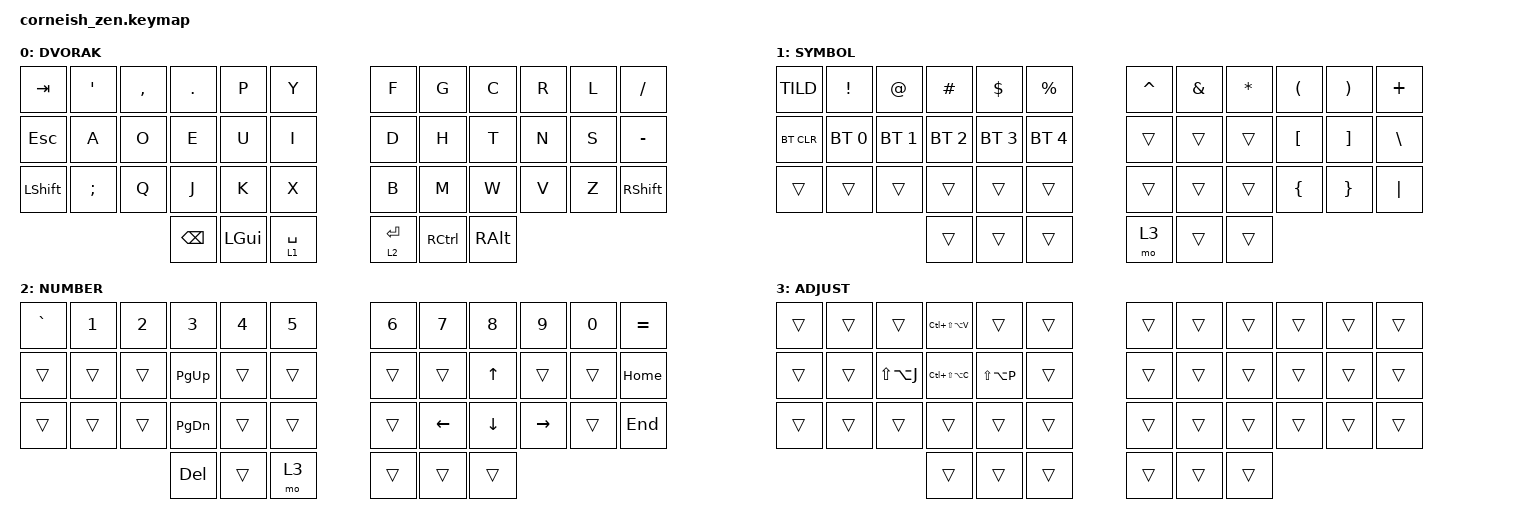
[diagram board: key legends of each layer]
#include <behaviors.dtsi>
#include <dt-bindings/zmk/keys.h>
#include <dt-bindings/zmk/bt.h>

/ {
  chosen {
    zmk,matrix_transform = &default_transform;
    //zmk,matrix_transform = &five_column_transform;
  };
};

&lt {
    flavor = "balanced";
    tapping-term-ms = <130>;
};

/ {
        keymap {
                compatible = "zmk,keymap";

                default_layer {
                        label = "DVORAK";
                        bindings = <
   &kp TAB   &kp SQT  &kp COMMA &kp DOT  &kp P    &kp Y         &kp F     &kp G     &kp C    &kp R &kp L &kp FSLH
   &kp ESC   &kp A    &kp O     &kp E    &kp U    &kp I         &kp D     &kp H     &kp T    &kp N &kp S &kp MINUS
   &kp LSHFT &kp SEMI &kp Q     &kp J    &kp K    &kp X         &kp B     &kp M     &kp W    &kp V &kp Z &kp RSHFT
                                &kp BSPC &kp LGUI &lt 1 SPACE   &lt 2 RET &kp RCTRL &kp RALT
                        >;
                };
                lower_layer {
                        label = "SYMBOL";
                        bindings = <
   &kp TILD   &kp EXCL     &kp AT       &kp HASH     &kp DLLR     &kp PRCNT      &kp CARET &kp AMPS &kp STAR &kp LPAR &kp RPAR &kp PLUS
   &bt BT_CLR &bt BT_SEL 0 &bt BT_SEL 1 &bt BT_SEL 2 &bt BT_SEL 3 &bt BT_SEL 4   &trans    &trans   &trans          &kp LBKT &kp RBKT &kp BSLH
   &trans     &trans       &trans       &trans       &trans       &trans         &trans    &trans   &trans          &kp LBRC &kp RBRC &kp PIPE
                    	                &trans       &trans       &trans         &mo 3     &trans   &trans
                        >;
                };

                raise_layer {
                        label = "NUMBER";
                        bindings = <
   &kp GRAVE &kp N1 &kp N2 &kp N3    &kp N4 &kp N5   &kp N6 &kp N7   &kp N8   &kp N9    &kp N0 &kp EQUAL
   &trans    &trans &trans &kp PG_UP &trans &trans   &trans &trans   &kp UP   &trans    &trans &kp HOME
   &trans    &trans &trans &kp PG_DN &trans &trans   &trans &kp LEFT &kp DOWN &kp RIGHT &trans &kp END
                           &kp DEL   &trans &mo 3    &trans &trans   &trans
                        >;
                };

                adjust_layer {
                        label = "ADJUST";
                        bindings = <
   &trans &trans &trans        &kp LC(LS(LA(V))) &trans        &trans     &trans &trans &trans &trans &trans &trans
   &trans &trans &kp LS(LA(J)) &kp LC(LS(LA(C))) &kp LS(LA(P)) &trans     &trans &trans &trans &trans &trans &trans
   &trans &trans &trans        &trans            &trans        &trans     &trans &trans &trans &trans &trans &trans
                               &trans            &trans        &trans     &trans &trans &trans
                        >;
                };
        };
};
